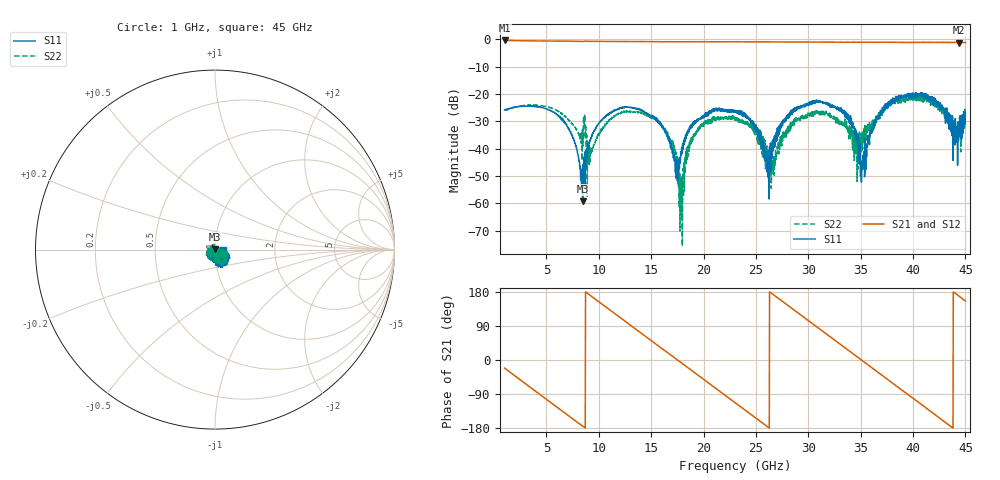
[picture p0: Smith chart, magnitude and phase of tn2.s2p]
!Keysight Technologies,N5247B,MY61255062,A.19.80.06
!Date: Thursday, May 21, 2026 12:35:32
!Correction: S11(Cdelta 2-Port  )
!S21(Cdelta 2-Port  )
!S12(Cdelta 2-Port  )
!S22(Cdelta 2-Port  )
!S2P File: Measurements: S11, S21, S12, S22:
# Hz S  dB  R 50
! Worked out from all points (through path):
!   1601 points, 1 GHz to 45 GHz, reference 50 ohm
!   highest |S21| = -0.47 dB at 1 GHz (marker M1); lowest = -1.3 dB at 44.4 GHz (marker M2)
!   group delay of S21, straight-line fit = 56.9 ps
!   lowest |S11| = -59.3 dB at 8.453 GHz (marker M3), VSWR 1.00, Z = 50.1 + j0.0911 ohm
!   |S11| at or under -10 dB: start of sweep to end of sweep
!   |S22| runs from -75.7 to -20.4 dB; largest |S21 - S12| = 0.016
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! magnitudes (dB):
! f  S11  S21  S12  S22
! 1 GHz  -25.8  -0.5  -0.5  -25.8
! 6.06 GHz  -27.9  -0.7  -0.7  -26.3
! 7.518 GHz  -36.3  -0.7  -0.8  -31.3
! 8.342 GHz  -53.5  -0.8  -0.8  -34.2
! 8.453 GHz  -59.3  -0.8  -0.8  -32.5
! 9.113 GHz  -37.9  -0.8  -0.8  -39.7
! 10.85 GHz  -27.8  -0.8  -0.8  -30.1
! 15.69 GHz  -29.8  -0.9  -0.9  -30.2
! 17.14 GHz  -42.2  -1.0  -1.0  -40.6
! 17.86 GHz  -42.4  -0.9  -1.0  -55.9
! 18.41 GHz  -35.2  -0.9  -0.9  -41.9
! 19.23 GHz  -30.7  -0.9  -0.9  -35.1
! 23 GHz  -26.0  -1.0  -1.0  -28.8
! 26.22 GHz  -40.9  -1.0  -1.0  -41.6
! 27.62 GHz  -30.3  -1.0  -1.0  -36.1
! 30.34 GHz  -23.8  -1.0  -1.1  -26.6
! 33.62 GHz  -28.8  -1.1  -1.1  -31.9
! 35.18 GHz  -47.7  -1.1  -1.1  -40.1
! 37.69 GHz  -23.3  -1.2  -1.1  -24.3
! 41.45 GHz  -21.2  -1.2  -1.2  -22.0
! 44.4 GHz  -30.0  -1.3  -1.1  -35.3
! 45 GHz  -26.9  -1.2  -1.2  -31.2
